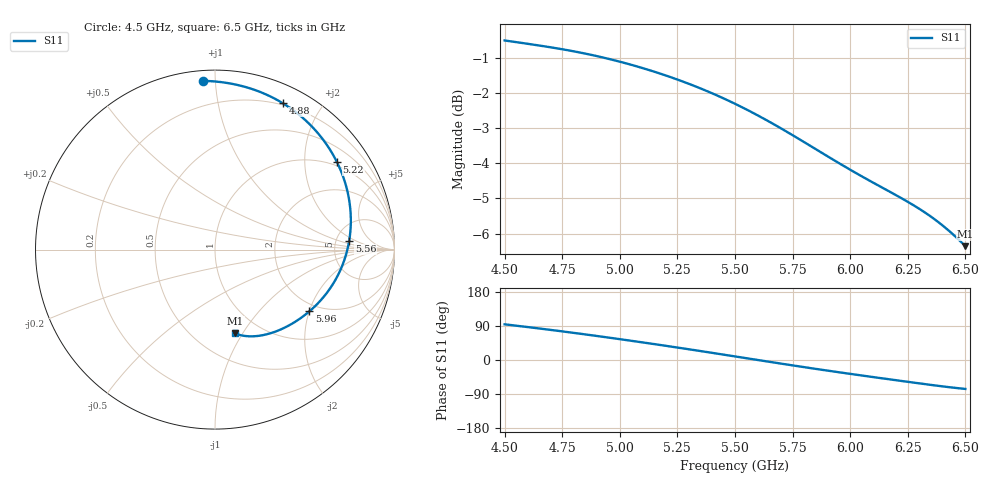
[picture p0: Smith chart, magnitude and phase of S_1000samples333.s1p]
! TOUCHSTONE file generated by CST MICROWAVE STUDIO
! Date and time: Thu Oct 27 19:41:04 2022
! Project name: L.cst
! Parameters = {Di=1.27; Epsilon_r=1.56; InnerDiameter=1.27; Length=2; Lf=10; Lg=60; OuterConductorThickness=0.2921; OuterDiameter=3.6; Wf=3; Wp=41.2; de=1.5; df=6.8; g=0.8; gx=1.05482; gy=4.89453; h=2.34; hf=1.524; px=9.42815; py=14.1123; w=9.7; wx=8.37333; wy=9.21774}
! Header version: 2018
! Port assignment regex: !\s*Touchstone port\s*([0-9]+)\s*=\s*(CST MWS port|CST DS port)\s*([0-9]+|Zmin|Zmax)\s*\(\"(.*)\"\)(\s*mode\s*([0-9]+))?.*
! Touchstone port assignment:
! Touchstone port 1 = CST MWS port 1 ("")
# GHz S DB R 50
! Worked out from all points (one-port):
!   101 points, 4.5 GHz to 6.5 GHz, reference 50 ohm
!   lowest |S11| = -6.4 dB at 6.5 GHz (marker M1), VSWR 2.85, Z = 38.3 - j46.5 ohm
!   |S11| at or under -10 dB: nowhere
!   S11 on the Smith chart (normalised r, x): 4.5 GHz: 0.06, +0.93; 4.88 GHz: 0.18, +1.55; 5.22 GHz: 0.89, +2.87; 5.56 GHz: 6.64, +1.48; 5.96 GHz: 1.77, -2.01; 6.5 GHz: 0.77, -0.93
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4.5  -0.51 94.2
4.58  -0.59 88.4
4.64  -0.65 83.9
4.76  -0.77 74.7
4.82  -0.85 69.9
4.88  -0.93 65.1
4.94  -1.02 60.1
5  -1.12 55.0
5.12  -1.34 44.6
5.22  -1.55 35.6
5.26  -1.65 32.0
5.32  -1.80 26.4
5.38  -1.96 20.8
5.44  -2.13 15.1
5.5  -2.31 9.4
5.56  -2.51 3.7
5.66  -2.86 -5.8
5.76  -3.24 -15.1
5.86  -3.64 -24.3
5.96  -4.03 -33.1
6  -4.19 -36.6
6.06  -4.41 -41.7
6.14  -4.70 -48.4
6.26  -5.14 -58.4
6.32  -5.38 -63.3
6.38  -5.66 -68.0
6.44  -5.99 -72.4
6.5  -6.36 -76.4
